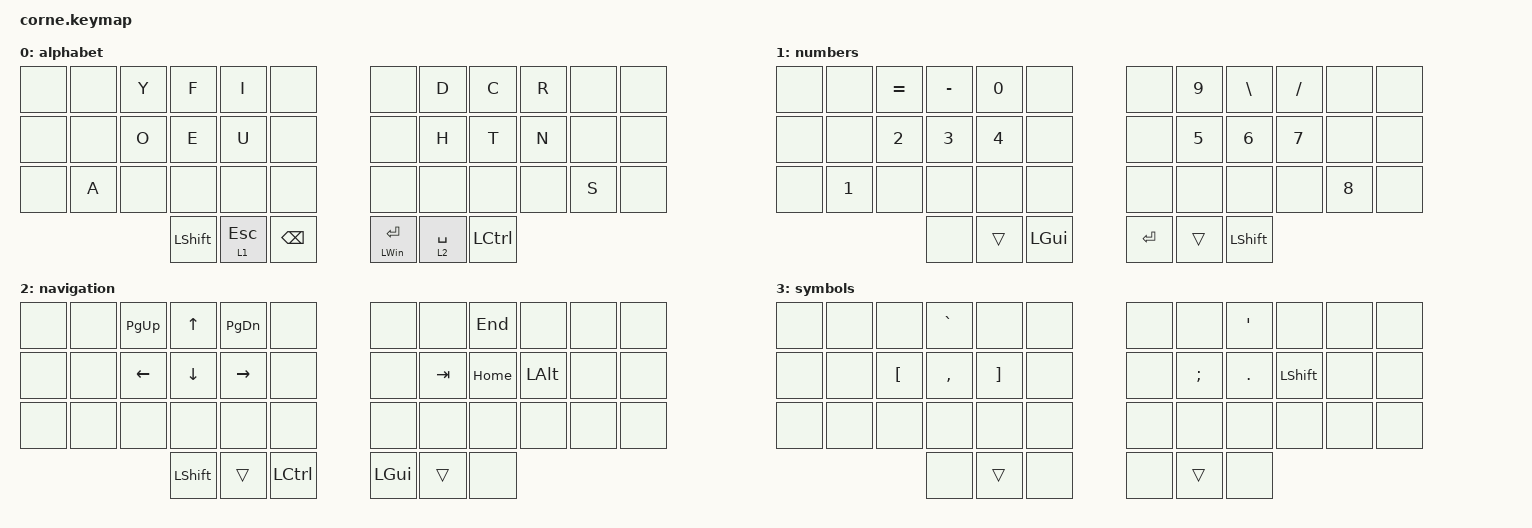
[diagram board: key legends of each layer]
#include <behaviors.dtsi>
#include <dt-bindings/zmk/keys.h>

#define DEF 0
#define NAV 1
#define SYM 2
#define ADJ 3
#define EXTRA 4

/ {
    behaviors {
        hm: homerow_mods {
            compatible = "zmk,behavior-hold-tap";
            #binding-cells = <2>;
            tapping-term-ms = <200>;
            flavor = "tap-preferred";
            bindings = <&kp>, <&kp>;

            quick-tap-ms = <180>;
            require-prior-idle-ms = <120>; /* tune to taste */
        };

        para: para {
            compatible = "zmk,behavior-tap-dance";
            #binding-cells = <0>;
            bindings = <&kp LEFT_PARENTHESIS>, <&kp RIGHT_PARENTHESIS>;
        };

        caps: caps {
            compatible = "zmk,behavior-caps-word";
            #binding-cells = <0>;
            continue-list = <MINUS BACKSPACE>;
        };

        paraless: paraless {
            compatible = "zmk,behavior-mod-morph";
            bindings = <&kp LEFT_PARENTHESIS>, <&kp LESS_THAN>;

            #binding-cells = <0>;
            mods = <(MOD_LSFT)>;
        };

        paragreat: paragreat {
            compatible = "zmk,behavior-mod-morph";
            bindings = <&kp RIGHT_PARENTHESIS>, <&kp GREATER_THAN>;

            #binding-cells = <0>;
            mods = <(MOD_LSFT)>;
        };
    };

    combos {
        compatible = "zmk,combos";

        w {
            bindings = <&kp W>;
            key-positions = <4 16>;
        };

        b {
            bindings = <&kp B>;
            key-positions = <19 20>;
        };

        m {
            bindings = <&kp M>;
            key-positions = <3 15>;
        };

        v {
            bindings = <&kp V>;
            key-positions = <3 4>;
        };

        l {
            bindings = <&kp L>;
            key-positions = <8 7>;
        };

        g {
            bindings = <&kp G>;
            key-positions = <7 19>;
        };

        q {
            bindings = <&kp Q>;
            key-positions = <2 14>;
        };

        k {
            bindings = <&kp K>;
            key-positions = <8 20>;
        };

        p {
            bindings = <&kp P>;
            key-positions = <15 16>;
        };

        j {
            bindings = <&kp J>;
            key-positions = <9 21>;
        };

        x {
            bindings = <&kp X>;
            key-positions = <16 15 3 4>;
        };

        z {
            bindings = <&kp Z>;
            key-positions = <7 19 20 8>;
        };
    };

    //

    keymap {
        compatible = "zmk,keymap";

        ALP {
            display-name = "alphabet";

            // -----------------------------------------------------------------------------------------
            // |  Q  |  W  |  E  |  R  |  T  |   |  Y  |  U   |  I  |  O  |  P  |
            // |  A  |  S  |  D  |  F  |  G  |   |  H  |  J   |  K  |  L  |  ;  |
            // |  Z  |  X  |  C  |  V  |  B  |   |  N  |  M   |  ,  |  .  |  /  |
            // | GUI | CTRL | SHFT | LWR | SPC |   | ENT | RSE  | BKSP | ALT | ESC |

            bindings = <
&none  &none  &kp Y  &kp F           &kp I      &none            &none               &kp D        &kp C             &kp R  &none  &none
&none  &none  &kp O  &kp E           &kp U      &none            &none               &kp H        &kp T             &kp N  &none  &none
&none  &kp A  &none  &none           &none      &none            &none               &none        &none             &none  &kp S  &none
                     &kp LEFT_SHIFT  &lt 1 ESC  &kp BACKSPACE    &mt LEFT_WIN ENTER  &lt 2 SPACE  &kp LEFT_CONTROL
            >;
        };

        NUM {
            display-name = "numbers";

            // -----------------------------------------------------------------------------------------
            // |  TAB |  1  |  2  |  3  |  4  |  5  |   |  6  |  7  |  8  |  9  |  0  | BKSP |
            // | BTCLR| BT1 | BT2 | BT3 | BT4 | BT5 |   | LFT | DWN |  UP | RGT |     |      |
            // | SHFT |     |     |     |     |     |   |     |     |     |     |     |      |
            // | GUI | CTRL | SHFT | LWR | SPC |   | ENT | RSE  | BKSP | ALT | ESC |

            bindings = <
&none  &none   &kp EQUAL  &kp MINUS  &kp N0  &none           &none       &kp N9  &kp BACKSLASH   &kp SLASH  &none   &none
&none  &none   &kp N2     &kp N3     &kp N4  &none           &none       &kp N5  &kp N6          &kp N7     &none   &none
&none  &kp N1  &none      &none      &none   &none           &none       &none   &none           &none      &kp N8  &none
                          &none      &trans  &kp LEFT_GUI    &kp RETURN  &trans  &kp LEFT_SHIFT
            >;
        };

        NAV {
            display-name = "navigation";

            // -----------------------------------------------------------------------------------------
            // |  TAB |  !  |  @  |  #  |  $  |  %  |   |  ^  |  &  |  *  |  (  |  )  | BKSP |
            // | CTRL |     |     |     |     |     |   |  -  |  =  |  [  |  ]  |  \  |  `   |
            // | SHFT |     |     |     |     |     |   |  _  |  +  |  {  |  }  | "|" |  ~   |
            //                    | GUI |     | SPC |   | ENT |     | ALT |

            bindings = <
&none  &none  &kp PAGE_UP  &kp UP          &kp PAGE_DOWN  &none               &none         &none    &kp END   &none         &none  &none
&none  &none  &kp LEFT     &kp DOWN        &kp RIGHT      &none               &none         &kp TAB  &kp HOME  &kp LEFT_ALT  &none  &none
&none  &none  &none        &none           &none          &none               &none         &none    &none     &none         &none  &none
                           &kp LEFT_SHIFT  &trans         &kp LEFT_CONTROL    &kp LEFT_GUI  &trans   &none
            >;
        };

        SYM {
            display-name = "symbols";
            bindings = <
&none  &none  &none             &kp GRAVE  &none              &none    &none  &none     &kp SINGLE_QUOTE  &none           &none  &none
&none  &none  &kp LEFT_BRACKET  &kp COMMA  &kp RIGHT_BRACKET  &none    &none  &kp SEMI  &kp PERIOD        &kp LEFT_SHIFT  &none  &none
&none  &none  &none             &none      &none              &none    &none  &none     &none             &none           &none  &none
                                &none      &trans             &none    &none  &trans    &none
            >;
        };
    };

    conditional_layers {
        compatible = "zmk,conditional-layers";

        symbols {
            if-layers = <1 2>;
            then-layer = <3>;
        };
    };
};
